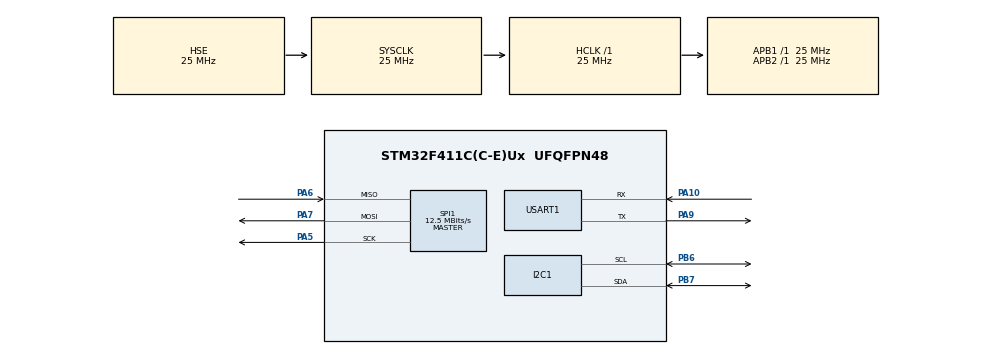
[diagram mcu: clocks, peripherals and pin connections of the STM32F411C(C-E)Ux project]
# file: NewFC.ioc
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FREERTOS.Tasks01=defaultTask,24,128,StartDefaultTask,Default,NULL,Dynamic,NULL,NULL
FREERTOS.configUSE_NEWLIB_REENTRANT=1
Mcu.Family=STM32F4
Mcu.Name=STM32F411C(C-E)Ux
Mcu.Package=UFQFPN48
NVIC.PriorityGroup=NVIC_PRIORITYGROUP_4
NVIC.TIM2_IRQn=true\:15\:0\:false\:false\:true\:false\:false\:true\:true
NVIC.TimeBase=TIM2_IRQn
NVIC.TimeBaseIP=TIM2
PA10.Mode=Asynchronous
PA10.Signal=USART1_RX
PA13.Mode=Serial_Wire
PA13.Signal=SYS_JTMS-SWDIO
PA14.Mode=Serial_Wire
PA14.Signal=SYS_JTCK-SWCLK
PA5.Mode=Full_Duplex_Master
PA5.Signal=SPI1_SCK
PA6.Mode=Full_Duplex_Master
PA6.Signal=SPI1_MISO
PA7.Mode=Full_Duplex_Master
PA7.Signal=SPI1_MOSI
PA9.Mode=Asynchronous
PA9.Signal=USART1_TX
PB6.Mode=I2C
PB6.Signal=I2C1_SCL
PB7.Mode=I2C
PB7.Signal=I2C1_SDA
PC14-OSC32_IN.Mode=LSE-External-Oscillator
PC14-OSC32_IN.Signal=RCC_OSC32_IN
PC15-OSC32_OUT.Mode=LSE-External-Oscillator
PC15-OSC32_OUT.Signal=RCC_OSC32_OUT
PH0\ -\ OSC_IN.Mode=HSE-External-Oscillator
PH0\ -\ OSC_IN.Signal=RCC_OSC_IN
PH1\ -\ OSC_OUT.Mode=HSE-External-Oscillator
PH1\ -\ OSC_OUT.Signal=RCC_OSC_OUT
ProjectManager.HeapSize=0x200
ProjectManager.StackSize=0x400
ProjectManager.TargetToolchain=STM32CubeIDE
RCC.AHBFreq_Value=25000000
RCC.APB1Freq_Value=25000000
RCC.APB1TimFreq_Value=25000000
RCC.APB2Freq_Value=25000000
RCC.APB2TimFreq_Value=25000000
RCC.CortexFreq_Value=25000000
RCC.HCLKFreq_Value=25000000
RCC.HSE_VALUE=25000000
RCC.HSI_VALUE=16000000
RCC.RCC_RTC_Clock_Source=RCC_RTCCLKSOURCE_LSE
RCC.RCC_RTC_Clock_SourceVirtual=RCC_RTCCLKSOURCE_LSE
RCC.SYSCLKFreq_VALUE=25000000
RCC.SYSCLKSource=RCC_SYSCLKSOURCE_HSE
RCC.VCOOutputFreq_Value=192000000
RTC.Format=RTC_FORMAT_BIN
SPI1.CalculateBaudRate=12.5 MBits/s
SPI1.Direction=SPI_DIRECTION_2LINES
SPI1.Mode=SPI_MODE_MASTER
SPI1.VirtualType=VM_MASTER
USART1.VirtualMode=VM_ASYNC
VP_FREERTOS_VS_CMSIS_V2.Mode=CMSIS_V2
VP_RTC_VS_RTC_Activate.Mode=RTC_Enabled
VP_RTC_VS_RTC_Calendar.Mode=RTC_Calendar
VP_SYS_VS_tim2.Mode=TIM2
board=custom

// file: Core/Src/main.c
/* USER CODE BEGIN Header */
/**
  ******************************************************************************
  * @file           : main.c
  * @brief          : Main program body
  ******************************************************************************
  * @attention
  *
  * Copyright (c) 2026 STMicroelectronics.
  * All rights reserved.
  *
  * This software is licensed under terms that can be found in the LICENSE file
  * in the root directory of this software component.
  * If no LICENSE file comes with this software, it is provided AS-IS.
  *
  ******************************************************************************
  */
/* USER CODE END Header */
#include "main.h"
#include "cmsis_os.h"

/* USER CODE BEGIN Includes */
#include "queue.h"
/* USER CODE END Includes */

I2C_HandleTypeDef hi2c1;

RTC_HandleTypeDef hrtc;

SPI_HandleTypeDef hspi1;

UART_HandleTypeDef huart1;

/* Definitions for defaultTask */
osThreadId_t defaultTaskHandle;
const osThreadAttr_t defaultTask_attributes = {
  .name = "defaultTask",
  .stack_size = 128 * 4,
  .priority = (osPriority_t) osPriorityNormal,
};
/* USER CODE BEGIN PV */
osThreadId_t BMP_PollingHandle;
const osThreadAttr_t BMP_Polling_attributes = {
  .name = "BMP_Polling",
  .stack_size = 128 * 4,
  .priority = (osPriority_t) osPriorityHigh3,
};
osThreadId_t Get_StateHandle;
const osThreadAttr_t BMP_Polling_attributes = {
  .name = "BMP_Polling",
  .stack_size = 128 * 4,
  .priority = (osPriority_t) osPriorityHigh5,
};
osThreadId_t Log_DataHandle;
const osThreadAttr_t BMP_Polling_attributes = {
  .name = "BMP_Polling",
  .stack_size = 128 * 4,
  .priority = (osPriority_t) osPriorityHigh,
};
QueueHandle_t Velocity;
QueueHandle_t Time;
QueueHandle_t Pressure;

/* USER CODE END PV */

void SystemClock_Config(void);
static void MX_GPIO_Init(void);
static void MX_I2C1_Init(void);
static void MX_RTC_Init(void);
static void MX_USART1_UART_Init(void);
static void MX_SPI1_Init(void);
void StartDefaultTask(void *argument);

/* USER CODE BEGIN PFP */
void BMP_Polling(void *argument);
void Get_State(void *argument);
void Log_Data(void *argument);
/* USER CODE END PFP */

int main(void)
{

  /* MCU Configuration--------------------------------------------------------*/

  /* Reset of all peripherals, Initializes the Flash interface and the Systick. */
  HAL_Init();

  /* Configure the system clock */
  SystemClock_Config();

  /* Initialize all configured peripherals */
  MX_GPIO_Init();
  MX_I2C1_Init();
  MX_RTC_Init();
  MX_USART1_UART_Init();
  MX_SPI1_Init();
  /* USER CODE BEGIN 2 */
  Time = xQueueCreate(20, sizeof(float));
  Velocity = xQueueCreate(20, sizeof(float));
  Pressure = xQueueCreate(20, sizeof(int16_t));
  /* USER CODE END 2 */

  /* Init scheduler */
  osKernelInitialize();

  /* Create the thread(s) */
  /* creation of defaultTask */
  defaultTaskHandle = osThreadNew(StartDefaultTask, NULL, &defaultTask_attributes);

  /* USER CODE BEGIN RTOS_THREADS */
  /* add threads, ... */
  BMP_PollingHandle = osThreadNew(BMP_Polling, NULL, &BMP_Polling_attributes);
  /* USER CODE END RTOS_THREADS */

  /* Start scheduler */
  osKernelStart();

  /* We should never get here as control is now taken by the scheduler */

  /* Infinite loop */
  while (1)
  {

  }
}

void SystemClock_Config(void)
{
  RCC_OscInitTypeDef RCC_OscInitStruct = {0};
  RCC_ClkInitTypeDef RCC_ClkInitStruct = {0};

  /** Configure the main internal regulator output voltage
  */
  __HAL_RCC_PWR_CLK_ENABLE();
  __HAL_PWR_VOLTAGESCALING_CONFIG(PWR_REGULATOR_VOLTAGE_SCALE1);

  /** Initializes the RCC Oscillators according to the specified parameters
  * in the RCC_OscInitTypeDef structure.
  */
  RCC_OscInitStruct.OscillatorType = RCC_OSCILLATORTYPE_HSE|RCC_OSCILLATORTYPE_LSE;
  RCC_OscInitStruct.HSEState = RCC_HSE_ON;
  RCC_OscInitStruct.LSEState = RCC_LSE_ON;
  RCC_OscInitStruct.PLL.PLLState = RCC_PLL_NONE;
  if (HAL_RCC_OscConfig(&RCC_OscInitStruct) != HAL_OK)
  {
    Error_Handler();
  }

  /** Initializes the CPU, AHB and APB buses clocks
  */
  RCC_ClkInitStruct.ClockType = RCC_CLOCKTYPE_HCLK|RCC_CLOCKTYPE_SYSCLK
                              |RCC_CLOCKTYPE_PCLK1|RCC_CLOCKTYPE_PCLK2;
  RCC_ClkInitStruct.SYSCLKSource = RCC_SYSCLKSOURCE_HSE;
  RCC_ClkInitStruct.AHBCLKDivider = RCC_SYSCLK_DIV1;
  RCC_ClkInitStruct.APB1CLKDivider = RCC_HCLK_DIV1;
  RCC_ClkInitStruct.APB2CLKDivider = RCC_HCLK_DIV1;

  if (HAL_RCC_ClockConfig(&RCC_ClkInitStruct, FLASH_LATENCY_0) != HAL_OK)
  {
    Error_Handler();
  }
}

static void MX_I2C1_Init(void)
{

  hi2c1.Instance = I2C1;
  hi2c1.Init.ClockSpeed = 100000;
  hi2c1.Init.DutyCycle = I2C_DUTYCYCLE_2;
  hi2c1.Init.OwnAddress1 = 0;
  hi2c1.Init.AddressingMode = I2C_ADDRESSINGMODE_7BIT;
  hi2c1.Init.DualAddressMode = I2C_DUALADDRESS_DISABLE;
  hi2c1.Init.OwnAddress2 = 0;
  hi2c1.Init.GeneralCallMode = I2C_GENERALCALL_DISABLE;
  hi2c1.Init.NoStretchMode = I2C_NOSTRETCH_DISABLE;
  if (HAL_I2C_Init(&hi2c1) != HAL_OK)
  {
    Error_Handler();
  }

}

static void MX_RTC_Init(void)
{

  RTC_TimeTypeDef sTime = {0};
  RTC_DateTypeDef sDate = {0};

  /** Initialize RTC Only
  */
  hrtc.Instance = RTC;
  hrtc.Init.HourFormat = RTC_HOURFORMAT_24;
  hrtc.Init.AsynchPrediv = 127;
  hrtc.Init.SynchPrediv = 255;
  hrtc.Init.OutPut = RTC_OUTPUT_DISABLE;
  hrtc.Init.OutPutPolarity = RTC_OUTPUT_POLARITY_HIGH;
  hrtc.Init.OutPutType = RTC_OUTPUT_TYPE_OPENDRAIN;
  if (HAL_RTC_Init(&hrtc) != HAL_OK)
  {
    Error_Handler();
  }

  /** Initialize RTC and set the Time and Date
  */
  sTime.Hours = 0;
  sTime.Minutes = 0;
  sTime.Seconds = 0;
  sTime.DayLightSaving = RTC_DAYLIGHTSAVING_NONE;
  sTime.StoreOperation = RTC_STOREOPERATION_RESET;
  if (HAL_RTC_SetTime(&hrtc, &sTime, RTC_FORMAT_BIN) != HAL_OK)
  {
    Error_Handler();
  }
  sDate.WeekDay = RTC_WEEKDAY_MONDAY;
  sDate.Month = RTC_MONTH_JANUARY;
  sDate.Date = 1;
  sDate.Year = 0;

  if (HAL_RTC_SetDate(&hrtc, &sDate, RTC_FORMAT_BIN) != HAL_OK)
  {
    Error_Handler();
  }

}

static void MX_SPI1_Init(void)
{

  /* SPI1 parameter configuration*/
  hspi1.Instance = SPI1;
  hspi1.Init.Mode = SPI_MODE_MASTER;
  hspi1.Init.Direction = SPI_DIRECTION_2LINES;
  hspi1.Init.DataSize = SPI_DATASIZE_8BIT;
  hspi1.Init.CLKPolarity = SPI_POLARITY_LOW;
  hspi1.Init.CLKPhase = SPI_PHASE_1EDGE;
  hspi1.Init.NSS = SPI_NSS_SOFT;
  hspi1.Init.BaudRatePrescaler = SPI_BAUDRATEPRESCALER_2;
  hspi1.Init.FirstBit = SPI_FIRSTBIT_MSB;
  hspi1.Init.TIMode = SPI_TIMODE_DISABLE;
  hspi1.Init.CRCCalculation = SPI_CRCCALCULATION_DISABLE;
  hspi1.Init.CRCPolynomial = 10;
  if (HAL_SPI_Init(&hspi1) != HAL_OK)
  {
    Error_Handler();
  }

}

static void MX_USART1_UART_Init(void)
{

  huart1.Instance = USART1;
  huart1.Init.BaudRate = 115200;
  huart1.Init.WordLength = UART_WORDLENGTH_8B;
  huart1.Init.StopBits = UART_STOPBITS_1;
  huart1.Init.Parity = UART_PARITY_NONE;
  huart1.Init.Mode = UART_MODE_TX_RX;
  huart1.Init.HwFlowCtl = UART_HWCONTROL_NONE;
  huart1.Init.OverSampling = UART_OVERSAMPLING_16;
  if (HAL_UART_Init(&huart1) != HAL_OK)
  {
    Error_Handler();
  }

}

static void MX_GPIO_Init(void)
{

  /* GPIO Ports Clock Enable */
  __HAL_RCC_GPIOC_CLK_ENABLE();
  __HAL_RCC_GPIOH_CLK_ENABLE();
  __HAL_RCC_GPIOA_CLK_ENABLE();
  __HAL_RCC_GPIOB_CLK_ENABLE();

}

void StartDefaultTask(void *argument)
{
  for(;;)
  {
    osDelay(1);
  }
}

void HAL_TIM_PeriodElapsedCallback(TIM_HandleTypeDef *htim)
{
  if (htim->Instance == TIM2)
  {
    HAL_IncTick();
  }
}

void Error_Handler(void)
{
  __disable_irq();
  while (1)
  {
  }
}

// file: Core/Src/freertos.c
/* USER CODE BEGIN Header */
/**
  ******************************************************************************
  * File Name          : freertos.c
  * Description        : Code for freertos applications
  ******************************************************************************
  * @attention
  *
  * Copyright (c) 2026 STMicroelectronics.
  * All rights reserved.
  *
  * This software is licensed under terms that can be found in the LICENSE file
  * in the root directory of this software component.
  * If no LICENSE file comes with this software, it is provided AS-IS.
  *
  ******************************************************************************
  */
/* USER CODE END Header */

#include "FreeRTOS.h"
#include "task.h"
#include "main.h"

/* USER CODE BEGIN Includes */
#include "cmsis_os.h"
#include "queue.h"
/* USER CODE END Includes */

/* USER CODE BEGIN Variables */
extern QueueHandle_t Pressure;
extern QueueHandle_t Time;
extern QueueHandle_t Velocity;
extern I2C_HandleTypeDef hi2c1;
extern RTC_TimeTypeDef sTime;
extern RTC_DateTypeDef sDate;
extern UART_HandleTypeDef huart1;
uint8_t state = 0;
float altbuf[10] = {0.0, 0.0, 0.0, 0.0, 0.0, 0.0, 0.0, 0.0, 0.0, 0.0};
float velbuf[10] = {0.0, 0.0, 0.0, 0.0, 0.0, 0.0, 0.0, 0.0, 0.0, 0.0};
float timebuf[10] = {0.0, 0.0, 0.0, 0.0, 0.0, 0.0, 0.0, 0.0, 0.0, 0.0};
float events[6] = {0.0, 0.0, 0.0, 0.0, 0.0, 0.0};

uint16_t flash_page = 0;
uint8_t offset = 0;

const float min_liftoff_alt;
const float force_burnout_time;
const float touchdown_alt;
const float touchdown_vel_limit;
const float main_to_touchdown_lockout;

/* USER CODE END Variables */

/* USER CODE BEGIN Application */
void BMP_Polling(void *argument)
{
	  uint8_t imu_addr = (0x76<<1);
	  uint8_t wakeup = 0x03;
	  uint8_t ph, pl, pxl;
      //uint8_t acc_config = 0x08;

	  HAL_I2C_Mem_Write(&hi2c1, imu_addr, 0xF4, I2C_MEMADD_SIZE_8BIT, &wakeup , 1, HAL_MAX_DELAY);

	  HAL_I2C_Mem_Write(&hi2c1, imu_addr, 0x1C, I2C_MEMADD_SIZE_8BIT, &acc_config , 1, HAL_MAX_DELAY);

	  for(;;)
	  {
		  HAL_I2C_Mem_Read(&hi2c1, imu_addr, 0xF7, I2C_MEMADD_SIZE_8BIT, &ph, 1, HAL_MAX_DELAY);
		  HAL_I2C_Mem_Read(&hi2c1, imu_addr, 0xF8, I2C_MEMADD_SIZE_8BIT, &pl, 1, HAL_MAX_DELAY);
		  HAL_I2C_Mem_Read(&hi2c1, imu_addr, 0xF9, I2C_MEMADD_SIZE_8BIT, &pxl, 1, HAL_MAX_DELAY);

		  int16_t p = (ph<<8) | pl;

		  if((xQueueSend(Pressure, (const void*)(&p), 0))==pdPASS)
		  {
			  for(int i = 0; i < 9; i++)
				  altbuf[i] = altbuf[i+1]; //Rolling buffer
			  altbuf[9] = 4947.19*(8.9611 - pow(p, 0.190255));
			  HAL_RTC_GetTime(&hrtc, &sTime, RTC_FORMAT_BIN);
			  HAL_RTC_GetDate(&hrtc, &sDate, RTC_FORMAT_BIN); //To prevent locking of shadow registers or smth
			  float t = (sTime.Minutes*60) + sTime.Seconds + ((sTime.SecondFraction - sTime.SubSeconds) * 1000) / (sTime.SecondFraction + 1);
			  xQueueSend(Time, (const void*)(&t), 0);
			  for(int i = 0; i < 9; i++)
				  timebuf[i] = timebuf[i+1];
			  timebuf[9] = t;
			  for(int i = 0; i < 9; i++)
				  velbuf[i] = velbuf[i+1]; //Rolling buffers implementation
			  velbuf[9] = (altbuf[9] - altbuf[8])/(timebuf[9] - timebuf[8]);
			  xQueueSend(Velocity, (const void*)(velbuf + 9), 0);
		  }
		  else
			  xTaskNotifyGive(Log_DataHandle);
			  osDelay(10);
	  }
}
void Get_State(void *argument)
{
	if(state==0) // Pad to Boost
	{
		int i;
		for(i = 0; i<10; i++)
		{
			if(altbuf[i] > min_liftoff_alt)
				continue;
			else
				break;
		}
		if(i == 10)
		{
			state = 1;
			events[1] = timebuf[-1];
		}
	}

	if(state==1) //Boost to Coast
		{
			int i;
			for(i = 0; i<10; i++)
			{
				if(timebuf[-1]-events[1] > force_burnout_time)
					continue;
				else
					break;
			}
			if(i == 10)
			{
				state = 2;
				events[2] = timebuf[-1];
			}
		}

	if(state==2) //Coast to Drogue
		{
			int i;
			for(i = 0; i<10; i++)
			{
				if(altbuf[i] > min_liftoff_alt)
					continue;
				else
					break;
			}
			if(i == 10)
			{
				state = 3;
				events[3] = timebuf[-1];
			}
		}

	if(state==3) //Drogue to Main
		{
			int i;
			for(i = 0; i<10; i++)
			{
				if(velbuf[i] < 0)
					continue;
				else
					break;
			}
			if(((i == 10) && (timebuf[-1] - events[3] > lockout_drogue)) || timebuf[-1] - events[3] > force_drogue)
			{
				state = 4;
				events[4] = timebuf[-1];
			}
		}

	if(state==4) //Main to Landed
		{
			int i;
			float avgvel = 0;
			for(i = 0; i<10; i++)
			{
				if(altbuf[i] < touchdown_alt)
				{
					avg_vel += velbuf[i]/10;
					continue;
				}
				else
					break;
			}
			if((i == 10) && (avg_vel<touchdown_vel_limit) && (timebuf[-1] - events[4] > main_to_touchdown_lockout))
			{
				state = 5;
				events[5] = timebuf[-1];
			}
		}

}
void Log_Data(void *argument) //Logging the Pressure data from the BMP along with the timestamp
{
	int16_t pressure;
	float time;
	float vel;
	uint8_t wren = 0x06;
	while(1)
	{
		ulTaskNotifyTake(pdTRUE, portMAX_DELAY);

		// Logging to TDU
		while(xQueueReceive(Pressure, &pressure, portMAX_DELAY)==pdPASS)
		{
			xQueueReceive(Time, &time, portMAX_DELAY);
			xQueueReceive(Velocity, &vel, portMAX_DELAY);
			HAL_UART_Transmit(&huart1, (uint8_t*)(&time), 4, HAL_MAX_DELAY);
			HAL_UART_Transmit(&huart1, (uint8_t*)(&pressure), 2, HAL_MAX_DELAY);
		}

		//Logging to Flash

		HAL_GPIO_WritePin(FLASH_CS_GPIO_Port, FLASH_CS_Pin, GPIO_PIN_RESET);
		HAL_SPI_Transmit(&hspi1, &wren, 1, HAL_MAX_DELAY);
		HAL_GPIO_WritePin(FLASH_CS_GPIO_Port, FLASH_CS_Pin, GPIO_PIN_SET);

		// 2. Prepare the Page Program Header (Command + 24-bit Address)
		uint8_t header[4];
		header[0] = 0x02;                 // Page Program Command
		header[1] = (flash_page >> 8) & 0xFF; // Address bits 23-16
		header[2] = flash_page & 0xFF;  // Address bits 15-8
		header[3] =  offset;         // Address bits 7-0

		// 3. Send the Header and Data Payload
		HAL_GPIO_WritePin(FLASH_CS_GPIO_Port, FLASH_CS_Pin, GPIO_PIN_RESET);
		HAL_SPI_Transmit(&hspi1, header, 4, HAL_MAX_DELAY);       // Send 4-byte header
		HAL_SPI_Transmit(&hspi1, &time, 4, HAL_MAX_DELAY);      // Send data payload (max 256 bytes)
		HAL_SPI_Transmit(&hspi1, &pressure, 2, HAL_MAX_DELAY);
		HAL_SPI_Transmit(&hspi1, &vel, 4, HAL_MAX_DELAY);
		offset += 10;
		if(offset<10)
			flash_page++;

		osDelay(portMAX_DELAY);
	}
}
/* USER CODE END Application */
